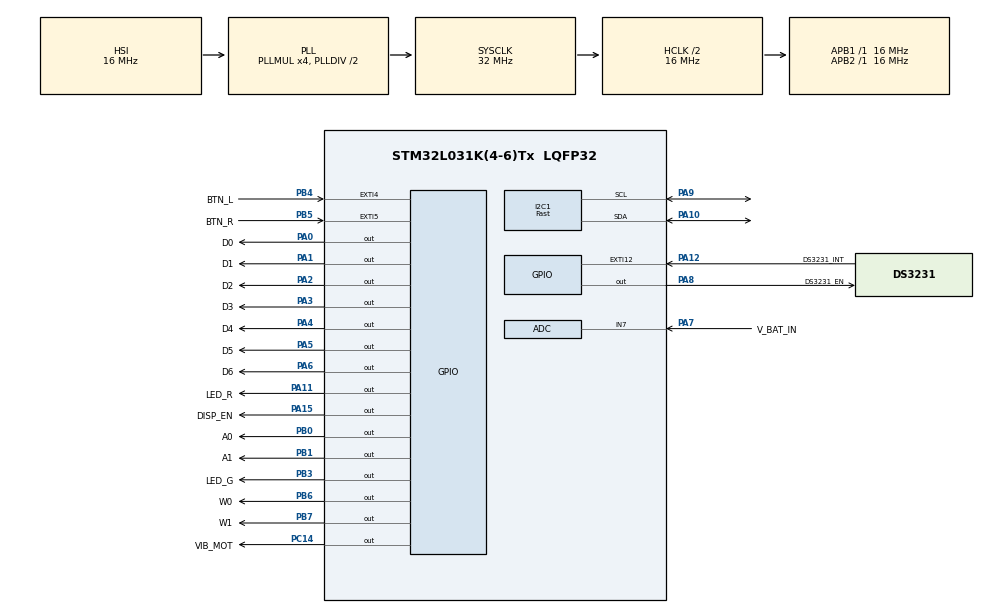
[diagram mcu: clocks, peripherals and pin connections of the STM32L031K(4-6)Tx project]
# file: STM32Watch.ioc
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ADC.ClockPrescaler=ADC_CLOCK_ASYNC_DIV2
ADC.DMAContinuousRequests=ENABLE
ADC.ExternalTrigConv=ADC_EXTERNALTRIGCONV_T2_TRGO
ADC.SamplingTime=ADC_SAMPLETIME_79CYCLES_5
Dma.ADC.0.Direction=DMA_PERIPH_TO_MEMORY
Dma.ADC.0.Instance=DMA1_Channel1
Dma.ADC.0.MemDataAlignment=DMA_MDATAALIGN_HALFWORD
Dma.ADC.0.MemInc=DMA_MINC_ENABLE
Dma.ADC.0.Mode=DMA_CIRCULAR
Dma.ADC.0.PeriphDataAlignment=DMA_PDATAALIGN_HALFWORD
Dma.ADC.0.PeriphInc=DMA_PINC_DISABLE
Dma.ADC.0.Priority=DMA_PRIORITY_LOW
Dma.Request0=ADC
I2C1.I2C_Speed_Mode=I2C_Fast
I2C1.Timing=0x0010061A
Mcu.Family=STM32L0
Mcu.Name=STM32L031K(4-6)Tx
Mcu.Package=LQFP32
NVIC.DMA1_Channel1_IRQn=true\:0\:0\:false\:false\:true\:false\:true\:true
NVIC.EXTI4_15_IRQn=true\:0\:0\:false\:false\:true\:true\:true\:true
PA0-CK_IN.GPIO_Label=D0
PA0-CK_IN.GPIO_PuPd=GPIO_NOPULL
PA0-CK_IN.Signal=GPIO_Output
PA1.GPIO_Label=D1
PA1.GPIO_PuPd=GPIO_NOPULL
PA1.Signal=GPIO_Output
PA10.Mode=I2C
PA10.Signal=I2C1_SDA
PA11.GPIO_Label=LED_R
PA11.Signal=GPIO_Output
PA12.GPIO_Label=DS3231_INT
PA12.Signal=GPXTI12
PA13.GPIO_Label=TMS
PA13.Mode=Serial_Wire
PA13.Signal=SYS_SWDIO
PA14.GPIO_Label=TCK
PA14.Mode=Serial_Wire
PA14.Signal=SYS_SWCLK
PA15.GPIO_Label=DISP_EN
PA15.Signal=GPIO_Output
PA2.GPIO_Label=D2
PA2.GPIO_PuPd=GPIO_NOPULL
PA2.Signal=GPIO_Output
PA3.GPIO_Label=D3
PA3.GPIO_PuPd=GPIO_NOPULL
PA3.Signal=GPIO_Output
PA4.GPIO_Label=D4
PA4.GPIO_PuPd=GPIO_NOPULL
PA4.Signal=GPIO_Output
PA5.GPIO_Label=D5
PA5.GPIO_PuPd=GPIO_NOPULL
PA5.Signal=GPIO_Output
PA6.GPIO_Label=D6
PA6.GPIO_PuPd=GPIO_NOPULL
PA6.Signal=GPIO_Output
PA7.GPIO_Label=V_BAT_IN
PA7.Mode=IN7
PA7.Signal=ADC_IN7
PA8.GPIO_Label=DS3231_EN
PA8.GPIO_PuPd=GPIO_NOPULL
PA8.Signal=GPIO_Output
PA9.Mode=I2C
PA9.Signal=I2C1_SCL
PB0.GPIO_Label=A0
PB0.Signal=GPIO_Output
PB1.GPIO_Label=A1
PB1.Signal=GPIO_Output
PB3.GPIO_Label=LED_G
PB3.Signal=GPIO_Output
PB4.GPIO_Label=BTN_L
PB4.GPIO_ModeDefaultEXTI=GPIO_MODE_IT_RISING_FALLING
PB4.Signal=GPXTI4
PB5.GPIO_Label=BTN_R
PB5.GPIO_ModeDefaultEXTI=GPIO_MODE_IT_RISING_FALLING
PB5.Signal=GPXTI5
PB6.GPIO_Label=W0
PB6.GPIO_PuPd=GPIO_PULLUP
PB6.Signal=GPIO_Output
PB7.GPIO_Label=W1
PB7.GPIO_PuPd=GPIO_PULLUP
PB7.Signal=GPIO_Output
PC14-OSC32_IN.GPIO_Label=VIB_MOT
PC14-OSC32_IN.Signal=GPIO_Output
ProjectManager.HeapSize=0x200
ProjectManager.StackSize=0x400
ProjectManager.TargetToolchain=STM32CubeIDE
RCC.AHBCLKDivider=RCC_SYSCLK_DIV2
RCC.AHBFreq_Value=16000000
RCC.APB1Freq_Value=16000000
RCC.APB1TimFreq_Value=16000000
RCC.APB2Freq_Value=16000000
RCC.APB2TimFreq_Value=16000000
RCC.HCLKFreq_Value=16000000
RCC.HSE_VALUE=8000000
RCC.HSI16_VALUE=16000000
RCC.HSI48_VALUE=48000000
RCC.HSI_VALUE=16000000
RCC.LSE_VALUE=32768
RCC.MSI_VALUE=2097000
RCC.PLLMUL=RCC_PLLMUL_4
RCC.SYSCLKFreq_VALUE=32000000
RCC.SYSCLKSource=RCC_SYSCLKSOURCE_PLLCLK
RCC.VCOOutputFreq_Value=64000000
TIM2.Period=5000
TIM2.Prescaler=16000 - 1
TIM2.TIM_MasterOutputTrigger=TIM_TRGO_UPDATE
VP_ADC_Vref_Input.Mode=IN-Vrefint
VP_TIM2_VS_ClockSourceINT.Mode=Internal
board=NUCLEO-L031K6

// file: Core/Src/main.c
/* USER CODE BEGIN Header */
/**
 ******************************************************************************
 * @file           : main.c
 * @brief          : Main program body
 ******************************************************************************
 * @attention
 *
 * Copyright (c) 2022 STMicroelectronics.
 * All rights reserved.
 *
 * This software is licensed under terms that can be found in the LICENSE file
 * in the root directory of this software component.
 * If no LICENSE file comes with this software, it is provided AS-IS.
 *
 ******************************************************************************
 */
/* USER CODE END Header */
#include "main.h"

ADC_HandleTypeDef hadc;
DMA_HandleTypeDef hdma_adc;

I2C_HandleTypeDef hi2c1;

TIM_HandleTypeDef htim2;

void SystemClock_Config(void);
static void MX_GPIO_Init(void);
static void MX_DMA_Init(void);
static void MX_ADC_Init(void);
static void MX_I2C1_Init(void);
static void MX_TIM2_Init(void);
/* USER CODE BEGIN PFP */
bool check_device(uint8_t address);
/* USER CODE END PFP */

int main(void) {

	/* MCU Configuration--------------------------------------------------------*/

	/* Reset of all peripherals, Initializes the Flash interface and the Systick. */
	HAL_Init();

	/* Configure the system clock */
	SystemClock_Config();

	/* Initialize all configured peripherals */
	MX_GPIO_Init();
	MX_DMA_Init();
	MX_ADC_Init();
	MX_I2C1_Init();
	MX_TIM2_Init();
	/* USER CODE BEGIN 2 */
	led_green_on();
	HAL_TIM_Base_Start_IT(&htim2);
	HAL_ADC_Start_DMA(&hadc, &battery_voltage, 2);
	DS3231_EN_PORT->ODR |= DS3231_EN;
	enable_displays();

	if (!check_device(BME280_I2C_ADDRESS)) {
		print_string("TMP ERR ");
		led_red_on();
		HAL_Delay(1000);
	} else {
		print_string("TMP OK  ");
		HAL_Delay(1000);
	}

	if (!check_device(DS3231_I2C_ADDRESS)) {
		print_string("RTC ERR ");
		led_red_on();
		HAL_Delay(1000);
		NVIC_SystemReset();
	} else {
		print_string("RTC OK  ");
		HAL_Delay(1000);
	}

	print_string(" HELLO  ");
	buzz_motor(300);
	MenuItem display_partial = { "DISP PAR", print_time_partial, NULL, NULL };
	MenuItem display_full = { "DISP FUL", print_time_full, &display_partial,
	NULL };
	MenuItem display_off = { "DISP OFF", print_time_off, &display_full,
			&display_partial };
	display_full.next = &display_off;
	display_partial.prev = &display_off;
	display_partial.next = &display_full;

	MenuItem menu = display_full;
	read_time();
	menu.func();
	led_green_off();
	led_red_off();
	/* USER CODE END 2 */

	/* Infinite loop */
	/* USER CODE BEGIN WHILE */
	while (1) {
		if (sleep_timeout_counter < sleep_timeout_s * 2) {
			read_time();
			enable_displays();
			menu.func();
			switch (wait_for_input(500)) {
			case INPUT_LEFT_BUTTON_SHORT_PRESS:
				menu = *menu.prev;
				break;
			case INPUT_LEFT_BUTTON_LONG_PRESS:
				asm("nop");
				float vbat = get_battery_voltage();
				char buff[9] = { 'B', 'T', ' ', 48 + (uint8_t) vbat, '.', 48
						+ ((uint8_t) (vbat * 10) % 10), 48
						+ ((uint8_t) (vbat * 100) % 10), 'V', '\0' };
				print_string(buff);
				buzz_motor(100);
				wait_for_buttons_released();
				break;
			case INPUT_RIGHT_BUTTON_SHORT_PRESS:
				menu = *menu.next;
				break;
			case INPUT_RIGHT_BUTTON_LONG_PRESS:
				enter_menu();
				break;
			}
			menu.func();
			sleep_timeout_counter++;
		} else {
			disable_displays();
			led_red_off();
			led_green_off();
			print_time_off();
			HAL_SuspendTick();
			HAL_PWR_EnterSTOPMode(PWR_LOWPOWERREGULATOR_ON, PWR_STOPENTRY_WFI);
			read_time();
			menu.func();
			wait_for_buttons_released();
		}

		/* USER CODE END WHILE */

	}
}

void SystemClock_Config(void) {
	RCC_OscInitTypeDef RCC_OscInitStruct = { 0 };
	RCC_ClkInitTypeDef RCC_ClkInitStruct = { 0 };
	RCC_PeriphCLKInitTypeDef PeriphClkInit = { 0 };

	/** Configure the main internal regulator output voltage
	 */
	__HAL_PWR_VOLTAGESCALING_CONFIG(PWR_REGULATOR_VOLTAGE_SCALE1);

	/** Initializes the RCC Oscillators according to the specified parameters
	 * in the RCC_OscInitTypeDef structure.
	 */
	RCC_OscInitStruct.OscillatorType = RCC_OSCILLATORTYPE_HSI;
	RCC_OscInitStruct.HSIState = RCC_HSI_ON;
	RCC_OscInitStruct.HSICalibrationValue = RCC_HSICALIBRATION_DEFAULT;
	RCC_OscInitStruct.PLL.PLLState = RCC_PLL_ON;
	RCC_OscInitStruct.PLL.PLLSource = RCC_PLLSOURCE_HSI;
	RCC_OscInitStruct.PLL.PLLMUL = RCC_PLLMUL_4;
	RCC_OscInitStruct.PLL.PLLDIV = RCC_PLLDIV_2;
	if (HAL_RCC_OscConfig(&RCC_OscInitStruct) != HAL_OK) {
		Error_Handler();
	}

	/** Initializes the CPU, AHB and APB buses clocks
	 */
	RCC_ClkInitStruct.ClockType = RCC_CLOCKTYPE_HCLK | RCC_CLOCKTYPE_SYSCLK
			| RCC_CLOCKTYPE_PCLK1 | RCC_CLOCKTYPE_PCLK2;
	RCC_ClkInitStruct.SYSCLKSource = RCC_SYSCLKSOURCE_PLLCLK;
	RCC_ClkInitStruct.AHBCLKDivider = RCC_SYSCLK_DIV2;
	RCC_ClkInitStruct.APB1CLKDivider = RCC_HCLK_DIV1;
	RCC_ClkInitStruct.APB2CLKDivider = RCC_HCLK_DIV1;

	if (HAL_RCC_ClockConfig(&RCC_ClkInitStruct, FLASH_LATENCY_0) != HAL_OK) {
		Error_Handler();
	}
	PeriphClkInit.PeriphClockSelection = RCC_PERIPHCLK_I2C1;
	PeriphClkInit.I2c1ClockSelection = RCC_I2C1CLKSOURCE_PCLK1;
	if (HAL_RCCEx_PeriphCLKConfig(&PeriphClkInit) != HAL_OK) {
		Error_Handler();
	}
}

static void MX_ADC_Init(void) {

	ADC_ChannelConfTypeDef sConfig = { 0 };

	/** Configure the global features of the ADC (Clock, Resolution, Data Alignment and number of conversion)
	 */
	hadc.Instance = ADC1;
	hadc.Init.OversamplingMode = DISABLE;
	hadc.Init.ClockPrescaler = ADC_CLOCK_ASYNC_DIV2;
	hadc.Init.Resolution = ADC_RESOLUTION_12B;
	hadc.Init.SamplingTime = ADC_SAMPLETIME_79CYCLES_5;
	hadc.Init.ScanConvMode = ADC_SCAN_DIRECTION_FORWARD;
	hadc.Init.DataAlign = ADC_DATAALIGN_RIGHT;
	hadc.Init.ContinuousConvMode = DISABLE;
	hadc.Init.DiscontinuousConvMode = DISABLE;
	hadc.Init.ExternalTrigConvEdge = ADC_EXTERNALTRIGCONVEDGE_RISING;
	hadc.Init.ExternalTrigConv = ADC_EXTERNALTRIGCONV_T2_TRGO;
	hadc.Init.DMAContinuousRequests = ENABLE;
	hadc.Init.EOCSelection = ADC_EOC_SINGLE_CONV;
	hadc.Init.Overrun = ADC_OVR_DATA_PRESERVED;
	hadc.Init.LowPowerAutoWait = DISABLE;
	hadc.Init.LowPowerFrequencyMode = DISABLE;
	hadc.Init.LowPowerAutoPowerOff = DISABLE;
	if (HAL_ADC_Init(&hadc) != HAL_OK) {
		Error_Handler();
	}

	/** Configure for the selected ADC regular channel to be converted.
	 */
	sConfig.Channel = ADC_CHANNEL_7;
	sConfig.Rank = ADC_RANK_CHANNEL_NUMBER;
	if (HAL_ADC_ConfigChannel(&hadc, &sConfig) != HAL_OK) {
		Error_Handler();
	}

	/** Configure for the selected ADC regular channel to be converted.
	 */
	sConfig.Channel = ADC_CHANNEL_VREFINT;
	if (HAL_ADC_ConfigChannel(&hadc, &sConfig) != HAL_OK) {
		Error_Handler();
	}

}

static void MX_I2C1_Init(void) {

	hi2c1.Instance = I2C1;
	hi2c1.Init.Timing = 0x0010061A;
	hi2c1.Init.OwnAddress1 = 0;
	hi2c1.Init.AddressingMode = I2C_ADDRESSINGMODE_7BIT;
	hi2c1.Init.DualAddressMode = I2C_DUALADDRESS_DISABLE;
	hi2c1.Init.OwnAddress2 = 0;
	hi2c1.Init.OwnAddress2Masks = I2C_OA2_NOMASK;
	hi2c1.Init.GeneralCallMode = I2C_GENERALCALL_DISABLE;
	hi2c1.Init.NoStretchMode = I2C_NOSTRETCH_DISABLE;
	if (HAL_I2C_Init(&hi2c1) != HAL_OK) {
		Error_Handler();
	}

	/** Configure Analogue filter
	 */
	if (HAL_I2CEx_ConfigAnalogFilter(&hi2c1, I2C_ANALOGFILTER_ENABLE)
			!= HAL_OK) {
		Error_Handler();
	}

	/** Configure Digital filter
	 */
	if (HAL_I2CEx_ConfigDigitalFilter(&hi2c1, 0) != HAL_OK) {
		Error_Handler();
	}

}

static void MX_TIM2_Init(void) {

	TIM_ClockConfigTypeDef sClockSourceConfig = { 0 };
	TIM_MasterConfigTypeDef sMasterConfig = { 0 };

	htim2.Instance = TIM2;
	htim2.Init.Prescaler = 16000 - 1;
	htim2.Init.CounterMode = TIM_COUNTERMODE_UP;
	htim2.Init.Period = 5000;
	htim2.Init.ClockDivision = TIM_CLOCKDIVISION_DIV1;
	htim2.Init.AutoReloadPreload = TIM_AUTORELOAD_PRELOAD_DISABLE;
	if (HAL_TIM_Base_Init(&htim2) != HAL_OK) {
		Error_Handler();
	}
	sClockSourceConfig.ClockSource = TIM_CLOCKSOURCE_INTERNAL;
	if (HAL_TIM_ConfigClockSource(&htim2, &sClockSourceConfig) != HAL_OK) {
		Error_Handler();
	}
	sMasterConfig.MasterOutputTrigger = TIM_TRGO_UPDATE;
	sMasterConfig.MasterSlaveMode = TIM_MASTERSLAVEMODE_DISABLE;
	if (HAL_TIMEx_MasterConfigSynchronization(&htim2, &sMasterConfig)
			!= HAL_OK) {
		Error_Handler();
	}

}

static void MX_DMA_Init(void) {

	/* DMA controller clock enable */
	__HAL_RCC_DMA1_CLK_ENABLE();

	/* DMA interrupt init */
	/* DMA1_Channel1_IRQn interrupt configuration */
	HAL_NVIC_SetPriority(DMA1_Channel1_IRQn, 0, 0);
	HAL_NVIC_EnableIRQ(DMA1_Channel1_IRQn);

}

static void MX_GPIO_Init(void) {
	GPIO_InitTypeDef GPIO_InitStruct = { 0 };

	/* GPIO Ports Clock Enable */
	__HAL_RCC_GPIOC_CLK_ENABLE();
	__HAL_RCC_GPIOA_CLK_ENABLE();
	__HAL_RCC_GPIOB_CLK_ENABLE();

	/*Configure GPIO pin Output Level */
	HAL_GPIO_WritePin(VIB_MOT_GPIO_Port, VIB_MOT_Pin, GPIO_PIN_RESET);

	/*Configure GPIO pin Output Level */
	HAL_GPIO_WritePin(GPIOA,
			D0_Pin | D1_Pin | D2_Pin | D3_Pin | D4_Pin | D5_Pin | D6_Pin
					| DS3231_EN_Pin | LED_R_Pin | DISP_EN_Pin, GPIO_PIN_RESET);

	/*Configure GPIO pin Output Level */
	HAL_GPIO_WritePin(GPIOB, A0_Pin | A1_Pin | LED_G_Pin | W0_Pin | W1_Pin,
			GPIO_PIN_RESET);

	/*Configure GPIO pin : VIB_MOT_Pin */
	GPIO_InitStruct.Pin = VIB_MOT_Pin;
	GPIO_InitStruct.Mode = GPIO_MODE_OUTPUT_PP;
	GPIO_InitStruct.Pull = GPIO_NOPULL;
	GPIO_InitStruct.Speed = GPIO_SPEED_FREQ_LOW;
	HAL_GPIO_Init(VIB_MOT_GPIO_Port, &GPIO_InitStruct);

	/*Configure GPIO pin : PC15 */
	GPIO_InitStruct.Pin = GPIO_PIN_15;
	GPIO_InitStruct.Mode = GPIO_MODE_ANALOG;
	GPIO_InitStruct.Pull = GPIO_NOPULL;
	HAL_GPIO_Init(GPIOC, &GPIO_InitStruct);

	/*Configure GPIO pins : D0_Pin D1_Pin D2_Pin D3_Pin
	 D4_Pin D5_Pin D6_Pin DS3231_EN_Pin
	 LED_R_Pin DISP_EN_Pin */
	GPIO_InitStruct.Pin = D0_Pin | D1_Pin | D2_Pin | D3_Pin | D4_Pin | D5_Pin
			| D6_Pin | DS3231_EN_Pin | LED_R_Pin | DISP_EN_Pin;
	GPIO_InitStruct.Mode = GPIO_MODE_OUTPUT_PP;
	GPIO_InitStruct.Pull = GPIO_NOPULL;
	GPIO_InitStruct.Speed = GPIO_SPEED_FREQ_LOW;
	HAL_GPIO_Init(GPIOA, &GPIO_InitStruct);

	/*Configure GPIO pins : A0_Pin A1_Pin LED_G_Pin */
	GPIO_InitStruct.Pin = A0_Pin | A1_Pin | LED_G_Pin;
	GPIO_InitStruct.Mode = GPIO_MODE_OUTPUT_PP;
	GPIO_InitStruct.Pull = GPIO_NOPULL;
	GPIO_InitStruct.Speed = GPIO_SPEED_FREQ_LOW;
	HAL_GPIO_Init(GPIOB, &GPIO_InitStruct);

	/*Configure GPIO pin : DS3231_INT_Pin */
	GPIO_InitStruct.Pin = DS3231_INT_Pin;
	GPIO_InitStruct.Mode = GPIO_MODE_IT_RISING;
	GPIO_InitStruct.Pull = GPIO_NOPULL;
	HAL_GPIO_Init(DS3231_INT_GPIO_Port, &GPIO_InitStruct);

	/*Configure GPIO pins : BTN_L_Pin BTN_R_Pin */
	GPIO_InitStruct.Pin = BTN_L_Pin | BTN_R_Pin;
	GPIO_InitStruct.Mode = GPIO_MODE_IT_RISING_FALLING;
	GPIO_InitStruct.Pull = GPIO_NOPULL;
	HAL_GPIO_Init(GPIOB, &GPIO_InitStruct);

	/*Configure GPIO pins : W0_Pin W1_Pin */
	GPIO_InitStruct.Pin = W0_Pin | W1_Pin;
	GPIO_InitStruct.Mode = GPIO_MODE_OUTPUT_PP;
	GPIO_InitStruct.Pull = GPIO_PULLUP;
	GPIO_InitStruct.Speed = GPIO_SPEED_FREQ_LOW;
	HAL_GPIO_Init(GPIOB, &GPIO_InitStruct);

	/* EXTI interrupt init*/
	HAL_NVIC_SetPriority(EXTI4_15_IRQn, 0, 0);
	HAL_NVIC_EnableIRQ(EXTI4_15_IRQn);

}

/* USER CODE BEGIN 4 */
bool check_device(uint8_t address) {
	return HAL_I2C_IsDeviceReady(&hi2c1, (address << 1), 5, 200) == HAL_OK;
}

/* USER CODE END 4 */

void Error_Handler(void) {
	__disable_irq();
	while (1) {
	}
}
